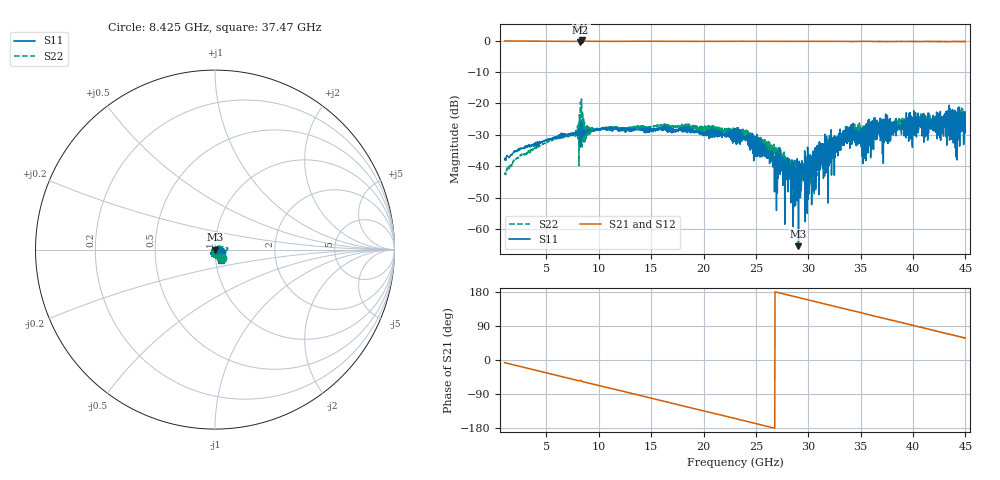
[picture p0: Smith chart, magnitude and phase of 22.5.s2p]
!Keysight Technologies,N5247B,MY61255062,A.19.80.06
!Date: Tuesday, May 26, 2026 11:59:53
!Correction: S11(C  2-Port  )
!S21(C  2-Port  )
!S12(C  2-Port  )
!S22(C  2-Port  )
!S2P File: Measurements: S11, S21, S12, S22:
# Hz S  dB  R 50
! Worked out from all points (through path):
!   1601 points, 1 GHz to 45 GHz, reference 50 ohm
!   highest |S21| = 0.09 dB at 8.342 GHz (marker M1); lowest = -0.4 dB at 8.205 GHz (marker M2)
!   group delay of S21, straight-line fit = 18.6 ps
!   lowest |S11| = -65.5 dB at 29.05 GHz (marker M3), VSWR 1.00, Z = 50 + j0.0521 ohm
!   |S11| at or under -10 dB: start of sweep to end of sweep
!   |S22| runs from -49.0 to -18.6 dB; largest |S21 - S12| = 0.016
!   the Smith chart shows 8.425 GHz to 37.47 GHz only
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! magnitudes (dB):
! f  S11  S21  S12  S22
! 1 GHz  -37.5  -0.1  -0.1  -42.0
! 2.595 GHz  -34.5  -0.1  -0.1  -36.4
! 7.875 GHz  -29.2  -0.2  -0.2  -28.2
! 8.205 GHz  -28.0  -0.4  -0.4  -25.2
! 8.342 GHz  -26.3  0.1  0.1  -18.6
! 8.81 GHz  -28.9  -0.2  -0.2  -27.2
! 15.69 GHz  -28.4  -0.2  -0.2  -27.2
! 23 GHz  -28.0  -0.2  -0.2  -28.2
! 26.02 GHz  -37.4  -0.2  -0.2  -32.2
! 26.91 GHz  -35.7  -0.2  -0.2  -34.1
! 27.37 GHz  -41.6  -0.2  -0.2  -36.2
! 29.05 GHz  -65.5  -0.2  -0.2  -38.2
! 29.32 GHz  -47.8  -0.2  -0.2  -39.2
! 29.9 GHz  -55.0  -0.2  -0.2  -40.3
! 30.34 GHz  -39.2  -0.2  -0.2  -36.8
! 31.11 GHz  -34.2  -0.2  -0.2  -37.6
! 32.1 GHz  -31.6  -0.2  -0.2  -33.9
! 33.78 GHz  -32.0  -0.2  -0.2  -30.3
! 35.29 GHz  -29.1  -0.2  -0.2  -31.0
! 37.69 GHz  -32.3  -0.3  -0.2  -27.3
! 42.91 GHz  -30.4  -0.3  -0.3  -27.3
! 45 GHz  -29.0  -0.2  -0.3  -22.6
